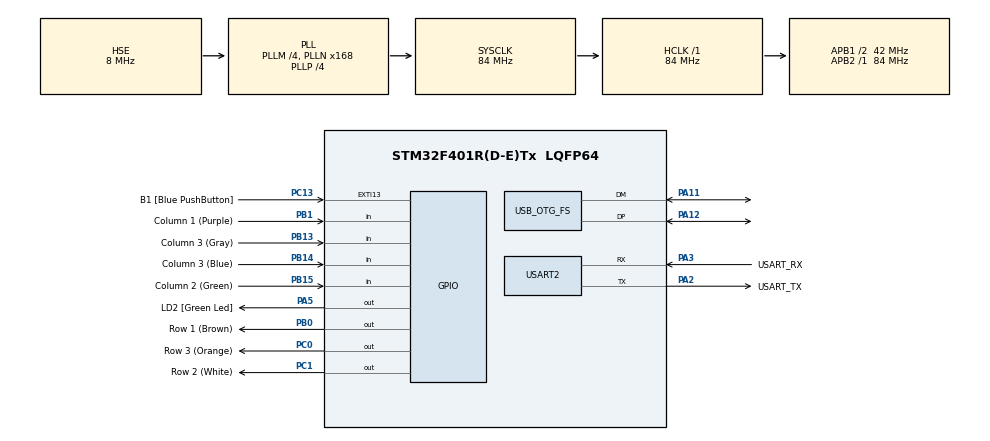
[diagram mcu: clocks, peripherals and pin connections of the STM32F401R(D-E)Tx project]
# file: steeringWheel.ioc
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Mcu.Family=STM32F4
Mcu.Name=STM32F401R(D-E)Tx
Mcu.Package=LQFP64
NVIC.OTG_FS_IRQn=true\:0\:0\:false\:false\:true\:false\:true\:true
NVIC.PriorityGroup=NVIC_PRIORITYGROUP_4
PA11.Mode=Device_Only
PA11.Signal=USB_OTG_FS_DM
PA12.Mode=Device_Only
PA12.Signal=USB_OTG_FS_DP
PA13.GPIO_Label=TMS
PA13.Mode=Trace_Asynchronous_SW
PA13.Signal=SYS_JTMS-SWDIO
PA14.GPIO_Label=TCK
PA14.Mode=Trace_Asynchronous_SW
PA14.Signal=SYS_JTCK-SWCLK
PA2.GPIO_Label=USART_TX
PA2.GPIO_Mode=GPIO_MODE_AF_PP
PA2.GPIO_PuPd=GPIO_NOPULL
PA2.GPIO_Speed=GPIO_SPEED_FREQ_LOW
PA2.Mode=Asynchronous
PA2.Signal=USART2_TX
PA3.GPIO_Label=USART_RX
PA3.GPIO_Mode=GPIO_MODE_AF_PP
PA3.GPIO_PuPd=GPIO_NOPULL
PA3.GPIO_Speed=GPIO_SPEED_FREQ_LOW
PA3.Mode=Asynchronous
PA3.Signal=USART2_RX
PA5.GPIO_Label=LD2 [Green Led]
PA5.GPIO_Mode=GPIO_MODE_OUTPUT_PP
PA5.GPIO_PuPd=GPIO_NOPULL
PA5.GPIO_Speed=GPIO_SPEED_FREQ_LOW
PA5.Signal=GPIO_Output
PB0.GPIO_Label=Row 1 (Brown)
PB0.Signal=GPIO_Output
PB1.GPIO_Label=Column 1 (Purple)
PB1.GPIO_PuPd=GPIO_PULLDOWN
PB1.Signal=GPIO_Input
PB13.GPIO_Label=Column 3 (Gray)
PB13.GPIO_PuPd=GPIO_PULLDOWN
PB13.Signal=GPIO_Input
PB14.GPIO_Label=Column 3 (Blue)
PB14.GPIO_PuPd=GPIO_PULLDOWN
PB14.Signal=GPIO_Input
PB15.GPIO_Label=Column 2 (Green)
PB15.GPIO_PuPd=GPIO_PULLDOWN
PB15.Signal=GPIO_Input
PB3.GPIO_Label=SWO
PB3.Mode=Trace_Asynchronous_SW
PB3.Signal=SYS_JTDO-SWO
PC0.GPIO_Label=Row 3 (Orange)
PC0.Signal=GPIO_Output
PC1.GPIO_Label=Row 2 (White)
PC1.Signal=GPIO_Output
PC13-ANTI_TAMP.GPIO_Label=B1 [Blue PushButton]
PC13-ANTI_TAMP.GPIO_ModeDefaultEXTI=GPIO_MODE_IT_FALLING
PC13-ANTI_TAMP.GPIO_PuPd=GPIO_NOPULL
PC13-ANTI_TAMP.Signal=GPXTI13
PC14-OSC32_IN.Mode=LSE-External-Oscillator
PC14-OSC32_IN.Signal=RCC_OSC32_IN
PC15-OSC32_OUT.Mode=LSE-External-Oscillator
PC15-OSC32_OUT.Signal=RCC_OSC32_OUT
PH0\ -\ OSC_IN.Mode=HSE-External-Clock-Source
PH0\ -\ OSC_IN.Signal=RCC_OSC_IN
PH1\ -\ OSC_OUT.Mode=HSE-External-Clock-Source
PH1\ -\ OSC_OUT.Signal=RCC_OSC_OUT
ProjectManager.HeapSize=0x200
ProjectManager.StackSize=0x400
ProjectManager.TargetToolchain=STM32CubeIDE
RCC.48MHZClocksFreq_Value=48000000
RCC.AHBFreq_Value=84000000
RCC.APB1CLKDivider=RCC_HCLK_DIV2
RCC.APB1Freq_Value=42000000
RCC.APB1TimFreq_Value=84000000
RCC.APB2Freq_Value=84000000
RCC.APB2TimFreq_Value=84000000
RCC.CortexFreq_Value=84000000
RCC.HCLKFreq_Value=84000000
RCC.HSE_VALUE=8000000
RCC.HSI_VALUE=16000000
RCC.PLLM=4
RCC.PLLN=168
RCC.PLLP=RCC_PLLP_DIV4
RCC.PLLQ=7
RCC.SYSCLKFreq_VALUE=84000000
RCC.SYSCLKSource=RCC_SYSCLKSOURCE_PLLCLK
RCC.VCOOutputFreq_Value=336000000
USART2.VirtualMode=VM_ASYNC
USB_DEVICE.CLASS_NAME_FS=HID
USB_DEVICE.VirtualMode-HID_FS=Hid
USB_DEVICE.VirtualModeFS=Hid_FS
USB_OTG_FS.VirtualMode=Device_Only
VP_USB_DEVICE_VS_USB_DEVICE_HID_FS.Mode=HID_FS
board=NUCLEO-F401RE

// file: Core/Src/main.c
/* USER CODE BEGIN Header */
/**
  ******************************************************************************
  * @file           : main.c
  * @brief          : Main program body
  ******************************************************************************
  * @attention
  *
  * Copyright (c) 2026 STMicroelectronics.
  * All rights reserved.
  *
  * This software is licensed under terms that can be found in the LICENSE file
  * in the root directory of this software component.
  * If no LICENSE file comes with this software, it is provided AS-IS.
  *
  ******************************************************************************
  */
/* USER CODE END Header */
#include "main.h"
#include "usb_device.h"

/* USER CODE BEGIN Includes */
#include "usbd_hid.h"

/* USER CODE END Includes */

UART_HandleTypeDef huart2;

/* USER CODE BEGIN PV */
extern USBD_HandleTypeDef hUsbDeviceFS;
/* USER CODE END PV */

void SystemClock_Config(void);
static void MX_GPIO_Init(void);
static void MX_USART2_UART_Init(void);

int main(void)
{

  /* MCU Configuration--------------------------------------------------------*/

  /* Reset of all peripherals, Initializes the Flash interface and the Systick. */
  HAL_Init();

  /* Configure the system clock */
  SystemClock_Config();

  /* Initialize all configured peripherals */
  MX_GPIO_Init();
  MX_USART2_UART_Init();
  MX_USB_DEVICE_Init();
  /* USER CODE BEGIN 2 */
  GPIO_TypeDef* rowPorts[3] = {GPIOB, GPIOC, GPIOC};
  uint16_t rowPins[3] = {GPIO_PIN_0, GPIO_PIN_1, GPIO_PIN_0};

  GPIO_TypeDef* colPorts[4] = {GPIOB, GPIOB, GPIOB, GPIOB};
  uint16_t colPins[4] = {GPIO_PIN_1, GPIO_PIN_15, GPIO_PIN_14, GPIO_PIN_13};

  //TEMP DEBUGGING CODE
//  // Test: drive row 1 high permanently
//  HAL_GPIO_WritePin(GPIOB, GPIO_PIN_0, GPIO_PIN_SET);

  /* USER CODE END 2 */

  /* Infinite loop */
  while (1)
  {

    /* USER CODE BEGIN 3 */
	  // first two bytes are
	  uint8_t report[4] = {0x00, 0x00, 0x00, 0x00};

	  for(int i = 0; i < 3; i++){
		  HAL_GPIO_WritePin(rowPorts[i], rowPins[i], GPIO_PIN_SET);
		  for (int j = 0; j < 4; j++){
			  if(HAL_GPIO_ReadPin(colPorts[j], colPins[j]) == GPIO_PIN_SET){
				  uint8_t num = i * 4 + j;
				  /* Button Matrix View:
				  *    0  1  2  3
				  * 0  0  1  2  3
				  * 1  4  5  6  7
				  * 2  8  9  10 11
				  *
				  * To calculate what button ur at, you can do:
				  * (rowNum + 1) * 4 - (4 - colNum)
				  * 4rowNum + 4 - 4 + colNum
				  * 4rowNum + colNum
				  *
				  * Eg, for button 9, which is at row =  2, col = 1, you can do 4*2 + 1 = 9
				  * button 7, which is at row = 1, col = 3, you can do 1*4 + 3 = 7
				  */
				  report[num/8] |= 0x01 << num % 8;
				  /*
				   * num/8 decides which byte to put in, first byte (0-7 buttons) or second byte (8-11 buttons)
				   * 0x01 << num % 8 shifts the 1 over to the right bit position for that button
				   * |= makes it a bitmask that leaves the other bits untouched
				   */

			  }
		  }
		  HAL_GPIO_WritePin(rowPorts[i], rowPins[i], GPIO_PIN_RESET);
	  }

	  USBD_HID_SendReport(&hUsbDeviceFS, report, 4);
	  HAL_Delay(10);

//	  uint8_t report[4] = {0x00, 0x00, 0x00, 0x00};
//
//	  if (HAL_GPIO_ReadPin(GPIOB, GPIO_PIN_15) == GPIO_PIN_SET) report[0] |= 0x02;
//	  if (HAL_GPIO_ReadPin(GPIOB, GPIO_PIN_14) == GPIO_PIN_SET) report[0] |= 0x04;
//	  if (HAL_GPIO_ReadPin(GPIOB, GPIO_PIN_13) == GPIO_PIN_SET) report[0] |= 0x08;
//
//	  USBD_HID_SendReport(&hUsbDeviceFS, report, 4);
//	  HAL_Delay(10);

  }
  /* USER CODE END 3 */
}

void SystemClock_Config(void)
{
  RCC_OscInitTypeDef RCC_OscInitStruct = {0};
  RCC_ClkInitTypeDef RCC_ClkInitStruct = {0};

  /** Configure the main internal regulator output voltage
  */
  __HAL_RCC_PWR_CLK_ENABLE();
  __HAL_PWR_VOLTAGESCALING_CONFIG(PWR_REGULATOR_VOLTAGE_SCALE2);

  /** Initializes the RCC Oscillators according to the specified parameters
  * in the RCC_OscInitTypeDef structure.
  */
  RCC_OscInitStruct.OscillatorType = RCC_OSCILLATORTYPE_HSE;
  RCC_OscInitStruct.HSEState = RCC_HSE_BYPASS;
  RCC_OscInitStruct.PLL.PLLState = RCC_PLL_ON;
  RCC_OscInitStruct.PLL.PLLSource = RCC_PLLSOURCE_HSE;
  RCC_OscInitStruct.PLL.PLLM = 4;
  RCC_OscInitStruct.PLL.PLLN = 168;
  RCC_OscInitStruct.PLL.PLLP = RCC_PLLP_DIV4;
  RCC_OscInitStruct.PLL.PLLQ = 7;
  if (HAL_RCC_OscConfig(&RCC_OscInitStruct) != HAL_OK)
  {
    Error_Handler();
  }

  /** Initializes the CPU, AHB and APB buses clocks
  */
  RCC_ClkInitStruct.ClockType = RCC_CLOCKTYPE_HCLK|RCC_CLOCKTYPE_SYSCLK
                              |RCC_CLOCKTYPE_PCLK1|RCC_CLOCKTYPE_PCLK2;
  RCC_ClkInitStruct.SYSCLKSource = RCC_SYSCLKSOURCE_PLLCLK;
  RCC_ClkInitStruct.AHBCLKDivider = RCC_SYSCLK_DIV1;
  RCC_ClkInitStruct.APB1CLKDivider = RCC_HCLK_DIV2;
  RCC_ClkInitStruct.APB2CLKDivider = RCC_HCLK_DIV1;

  if (HAL_RCC_ClockConfig(&RCC_ClkInitStruct, FLASH_LATENCY_2) != HAL_OK)
  {
    Error_Handler();
  }
}

static void MX_USART2_UART_Init(void)
{

  huart2.Instance = USART2;
  huart2.Init.BaudRate = 115200;
  huart2.Init.WordLength = UART_WORDLENGTH_8B;
  huart2.Init.StopBits = UART_STOPBITS_1;
  huart2.Init.Parity = UART_PARITY_NONE;
  huart2.Init.Mode = UART_MODE_TX_RX;
  huart2.Init.HwFlowCtl = UART_HWCONTROL_NONE;
  huart2.Init.OverSampling = UART_OVERSAMPLING_16;
  if (HAL_UART_Init(&huart2) != HAL_OK)
  {
    Error_Handler();
  }

}

static void MX_GPIO_Init(void)
{
  GPIO_InitTypeDef GPIO_InitStruct = {0};

  /* GPIO Ports Clock Enable */
  __HAL_RCC_GPIOC_CLK_ENABLE();
  __HAL_RCC_GPIOH_CLK_ENABLE();
  __HAL_RCC_GPIOA_CLK_ENABLE();
  __HAL_RCC_GPIOB_CLK_ENABLE();

  /*Configure GPIO pin Output Level */
  HAL_GPIO_WritePin(GPIOC, Row_3_Pin|Row_2_Pin, GPIO_PIN_RESET);

  /*Configure GPIO pin Output Level */
  HAL_GPIO_WritePin(LD2_GPIO_Port, LD2_Pin, GPIO_PIN_RESET);

  /*Configure GPIO pin Output Level */
  HAL_GPIO_WritePin(Row_1_GPIO_Port, Row_1_Pin, GPIO_PIN_RESET);

  /*Configure GPIO pin : B1_Pin */
  GPIO_InitStruct.Pin = B1_Pin;
  GPIO_InitStruct.Mode = GPIO_MODE_IT_FALLING;
  GPIO_InitStruct.Pull = GPIO_NOPULL;
  HAL_GPIO_Init(B1_GPIO_Port, &GPIO_InitStruct);

  /*Configure GPIO pins : Row_3_Pin Row_2_Pin */
  GPIO_InitStruct.Pin = Row_3_Pin|Row_2_Pin;
  GPIO_InitStruct.Mode = GPIO_MODE_OUTPUT_PP;
  GPIO_InitStruct.Pull = GPIO_NOPULL;
  GPIO_InitStruct.Speed = GPIO_SPEED_FREQ_LOW;
  HAL_GPIO_Init(GPIOC, &GPIO_InitStruct);

  /*Configure GPIO pin : LD2_Pin */
  GPIO_InitStruct.Pin = LD2_Pin;
  GPIO_InitStruct.Mode = GPIO_MODE_OUTPUT_PP;
  GPIO_InitStruct.Pull = GPIO_NOPULL;
  GPIO_InitStruct.Speed = GPIO_SPEED_FREQ_LOW;
  HAL_GPIO_Init(LD2_GPIO_Port, &GPIO_InitStruct);

  /*Configure GPIO pin : Row_1_Pin */
  GPIO_InitStruct.Pin = Row_1_Pin;
  GPIO_InitStruct.Mode = GPIO_MODE_OUTPUT_PP;
  GPIO_InitStruct.Pull = GPIO_NOPULL;
  GPIO_InitStruct.Speed = GPIO_SPEED_FREQ_LOW;
  HAL_GPIO_Init(Row_1_GPIO_Port, &GPIO_InitStruct);

  /*Configure GPIO pins : Column_1_Pin Column_3_Pin Column_3B14_Pin Column_2_Pin */
  GPIO_InitStruct.Pin = Column_1_Pin|Column_3_Pin|Column_3B14_Pin|Column_2_Pin;
  GPIO_InitStruct.Mode = GPIO_MODE_INPUT;
  GPIO_InitStruct.Pull = GPIO_PULLDOWN;
  HAL_GPIO_Init(GPIOB, &GPIO_InitStruct);

}

void Error_Handler(void)
{
  __disable_irq();
  while (1)
  {
  }
}
